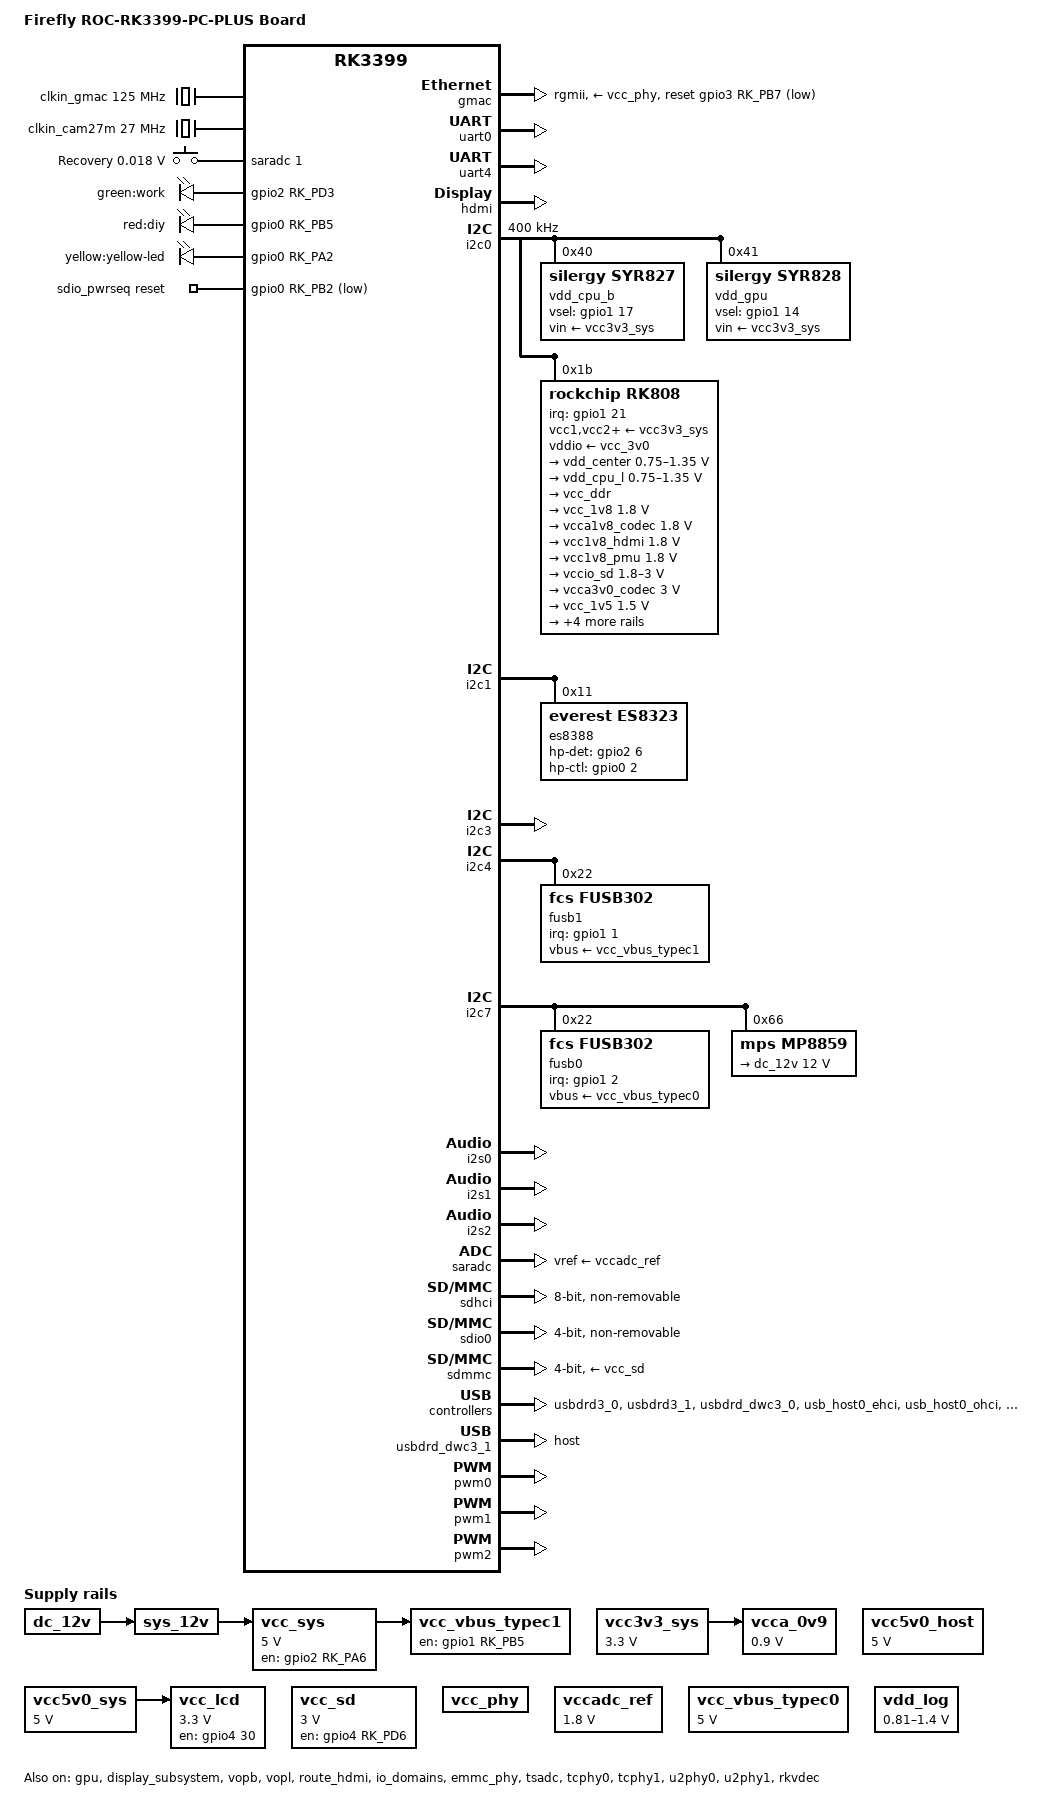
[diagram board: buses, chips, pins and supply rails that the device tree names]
// SPDX-License-Identifier: (GPL-2.0+ OR MIT)
/*
 * Copyright (c) 2017 T-Chip Intelligent Technology Co., Ltd
 */

/dts-v1/;
//#include "rk3399-roc-pc.dtsi"
#include "dt-bindings/pwm/pwm.h"
#include <dt-bindings/usb/pd.h>
#include "rk3399.dtsi"
#include "rk3399-opp.dtsi"
#include "rk3399-vop-clk-set.dtsi"
//#include "rk3399-android.dtsi"
#include "rk3399-nanopi4-rkisp1.dtsi"
#include "rk3399-linux.dtsi"
#include <dt-bindings/input/input.h>
#include <dt-bindings/display/media-bus-format.h>
//#include "include/uapi/drm/drm_mode.h"

/ {
	model = "Firefly ROC-RK3399-PC-PLUS Board";
	compatible = "firefly,roc-rk3399-pc-plus", "rockchip,rk3399";

	chosen {
		stdout-path = "serial2:1500000n8";
	};


//	gpio-fan {
//		#cooling-cells = <2>;
//		compatible = "gpio-fan";
//		gpio-fan,speed-map = <0 0 3000 1>;
//		gpios = <&gpio1 RK_PA1 GPIO_ACTIVE_HIGH>;
//	};

//	ir-receiver {
//		linux,rc-map-name = "rc-khadas";
//	};

	aliases {
		spi1 = &spi1;
	};

	/* first 64k(0xff8c0000~0xff8d0000) for ddr and suspend */
	iram: sram@ff8d0000 {
		compatible = "mmio-sram";
		reg = <0x0 0xff8d0000 0x0 0x20000>; /* 128k */
	};

	clkin_gmac: external-gmac-clock {
		compatible = "fixed-clock";
		clock-frequency = <125000000>;
		clock-output-names = "clkin_gmac";
		#clock-cells = <0>;
	};

	hdmi_sound: hdmi-sound {
		status = "disabled";
		compatible = "simple-audio-card";
		simple-audio-card,format = "i2s";
		simple-audio-card,mclk-fs = <256>;
		simple-audio-card,name = "rockchip,hdmi";

		simple-audio-card,cpu {
			sound-dai = <&i2s2>;
		};
		simple-audio-card,codec {
			sound-dai = <&hdmi>;
		};
	};

	clkin_cam27m: external-camera-clock {
		compatible = "fixed-clock";
		clock-frequency = <27000000>;
		clock-output-names = "CLK_CAMERA_27MHZ";
		#clock-cells = <0>;
	};

	vcc3v3_sys: vcc3v3-sys {
		compatible = "regulator-fixed";
		regulator-name = "vcc3v3_sys";
		regulator-always-on;
		regulator-boot-on;
		regulator-min-microvolt = <3300000>;
		regulator-max-microvolt = <3300000>;
	};

	vcc5v0_host: vcc5v0-host-regulator {
		compatible = "regulator-fixed";
		regulator-name = "vcc5v0_host";
		regulator-always-on;
		regulator-boot-on;
		regulator-min-microvolt = <5000000>;
		regulator-max-microvolt = <5000000>;
	};

	vcc5v0_sys: vcc5v0-sys {
		compatible = "regulator-fixed";
		regulator-name = "vcc5v0_sys";
		regulator-always-on;
		regulator-boot-on;
		regulator-min-microvolt = <5000000>;
		regulator-max-microvolt = <5000000>;
	};

	vcc_sd: vcc-sd {
		compatible = "regulator-fixed";
		enable-active-high;
//		gpio = <&gpio0 1 GPIO_ACTIVE_HIGH>;
		gpio = <&gpio4 RK_PD6 GPIO_ACTIVE_HIGH>;
		pinctrl-names = "default";
		pinctrl-0 = <&vcc_sd_h>;
		regulator-name = "vcc_sd";
		regulator-boot-on;
		regulator-min-microvolt = <3000000>;
		regulator-max-microvolt = <3000000>;
	};

	vcc_phy: vcc-phy-regulator {
		compatible = "regulator-fixed";
		regulator-name = "vcc_phy";
		regulator-always-on;
		regulator-boot-on;
	};

	vcc_lcd: vcc-lcd {
		compatible = "regulator-fixed";
		regulator-name = "vcc_lcd";
		gpio = <&gpio4 30 GPIO_ACTIVE_HIGH>;
		startup-delay-us = <20000>;
		enable-active-high;
		regulator-min-microvolt = <3300000>;
		regulator-max-microvolt = <3300000>;
		regulator-boot-on;
		vin-supply = <&vcc5v0_sys>;
	};

	vccadc_ref: vccadc-ref {
		compatible = "regulator-fixed";
		regulator-name = "vcc1v8_sys";
		regulator-always-on;
		regulator-boot-on;
		regulator-min-microvolt = <1800000>;
		regulator-max-microvolt = <1800000>;
	};

	vcca_0v9: vcca-0v9 {
		compatible = "regulator-fixed";
		regulator-name = "vcca_0v9";
		regulator-always-on;
		regulator-boot-on;
		regulator-min-microvolt = <900000>;
		regulator-max-microvolt = <900000>;
		vin-supply = <&vcc3v3_sys>;
	};

	sys_12v: sys-12v {
		compatible = "regulator-fixed";
		regulator-name = "sys_12v";
		regulator-always-on;
		regulator-boot-on;
		vin-supply = <&dc_12v>;
	};

	vcc_vbus_typec0: vcc-vbus-typec0 {
		compatible = "regulator-fixed";
		regulator-name = "vcc_vbus_typec0";
		regulator-always-on;
		regulator-boot-on;
		regulator-min-microvolt = <5000000>;
		regulator-max-microvolt = <5000000>;
	};

	vcc_vbus_typec1: vcc-vbus-typec1 {
		compatible = "regulator-fixed";
		enable-active-high;
		gpio = <&gpio1 RK_PB5 GPIO_ACTIVE_HIGH>;
		pinctrl-names = "default";
		pinctrl-0 = <&vcc_vbus_typec1_en>;
		regulator-name = "vcc_vbus_typec1";
		regulator-always-on;
		vin-supply = <&vcc_sys>;
	};

	vcc_sys: vcc-sys {
		compatible = "regulator-fixed";
		enable-active-high;
		gpio = <&gpio2 RK_PA6 GPIO_ACTIVE_HIGH>;
		pinctrl-names = "default";
		pinctrl-0 = <&vcc_sys_en>;
		regulator-name = "vcc_sys";
		regulator-boot-on;
		regulator-min-microvolt = <5000000>;
		regulator-max-microvolt = <5000000>;
		vin-supply = <&sys_12v>;
	};

	vdd_log: vdd-log {
		compatible = "pwm-regulator";
		pwms = <&pwm2 0 25000 1>;
		regulator-name = "vdd_log";
		regulator-min-microvolt = <810000>;
		regulator-max-microvolt = <1400000>;
		regulator-always-on;
		regulator-boot-on;

		/* for rockchip boot on */
		rockchip,pwm_id = <2>;
		rockchip,pwm_voltage = <900000>;
	};

	dp_sound: dp-sound {
		status = "okay";
		compatible = "rockchip,cdndp-sound";
		rockchip,cpu = <&spdif>;
		rockchip,codec = <&cdn_dp 1>;
	};

	es8388-sound {
		status = "okay";
		compatible = "simple-audio-card";
		simple-audio-card,format = "i2s";
		simple-audio-card,name = "rockchip,es8388-codec";
		simple-audio-card,mclk-fs = <256>;
		simple-audio-card,cpu {
			sound-dai = <&i2s1>;
			system-clock-frequency = <11289600>;
		};
		simple-audio-card,codec {
			sound-dai = <&es8388>;
			system-clock-frequency = <11289600>;
		};
	};

	/* not amplifier, used as switcher only */
//	headphones_amp: headphones-amp {
//		compatible = "simple-audio-amplifier";
//		pinctrl-names = "default";
//		pinctrl-0 = <&ear_ctl_pin>;
//		enable-gpios = <&gpio0 RK_PA2 GPIO_ACTIVE_HIGH>;
//		sound-name-prefix = "Headphone Amp";
//		VCC-supply = <&vcca3v0_codec>;
//	};

	adc-keys {
		compatible = "adc-keys";
		io-channels = <&saradc 1>;
		io-channel-names = "buttons";
		keyup-threshold-microvolt = <1500000>;
		poll-interval = <100>;

		recovery {
			label = "Recovery";
			linux,code = <KEY_VENDOR>;
			press-threshold-microvolt = <18000>;
		};
	};

//	gpio-keys {
//		compatible = "gpio-keys";
//		autorepeat;
//		pinctrl-names = "default";
//		pinctrl-0 = <&pwr_key_l>;

//		key-power {
//			debounce-interval = <100>;
//			gpios = <&gpio0 RK_PA5 GPIO_ACTIVE_LOW>;
//			label = "GPIO Key Power";
//			linux,code = <KEY_POWER>;
//			wakeup-source;
//		};
//	};

	leds {
		compatible = "gpio-leds";
		pinctrl-names = "default";
		pinctrl-0 = <&work_led_pin>, <&diy_led_pin>, <&yellow_led_pin>;

		work_led: led-0 {
			label = "green:work";
			gpios = <&gpio2 RK_PD3 GPIO_ACTIVE_HIGH>;
			default-state = "on";
			linux,default-trigger = "heartbeat";
		};

		diy_led: led-1 {
			label = "red:diy";
			gpios = <&gpio0 RK_PB5 GPIO_ACTIVE_HIGH>;
			default-state = "off";
			linux,default-trigger = "mmc2";
		};

		yellow_led: led-2 {
			label = "yellow:yellow-led";
			gpios = <&gpio0 RK_PA2 GPIO_ACTIVE_HIGH>;
			default-state = "off";
			linux,default-trigger = "mmc1";
		};
	};

	sdio_pwrseq: sdio-pwrseq {
		compatible = "mmc-pwrseq-simple";
		clocks = <&rk808 1>;
		clock-names = "ext_clock";
		pinctrl-names = "default";
		pinctrl-0 = <&wifi_enable_h>;

		/*
		 * On the module itself this is one of these (depending
		 * on the actual card populated):
		 * - SDIO_RESET_L_WL_REG_ON
		 * - PDN (power down when low)
		 */
		reset-gpios = <&gpio0 RK_PB2 GPIO_ACTIVE_LOW>;
	};



//	rk_wlan: wireless-wlan {
//		compatible = "wlan-platdata";
//		rockchip,grf = <&grf>;
//		wifi_chip_type = "ap6354";
//		sdio_vref = <1800>;
//		WIFI,host_wake_irq = <&gpio0 3 GPIO_ACTIVE_HIGH>; /* GPIO0_a3 */
//		status = "okay";
//	};

//	rk_bluetooth: wireless-bluetooth {
//		compatible = "bluetooth-platdata";
//		clocks = <&rk808 1>;
//		clock-names = "ext_clock";
//		//wifi-bt-power-toggle;
//		uart_rts_gpios = <&gpio2 19 GPIO_ACTIVE_LOW>; /* GPIO2_C3 */
//		pinctrl-names = "default", "rts_gpio";
//		pinctrl-0 = <&uart0_rts>;
//		pinctrl-1 = <&uart0_gpios>;
//		//BT,power_gpio  = <&gpio3 19 GPIO_ACTIVE_HIGH>; /* GPIOx_xx */
//		BT,reset_gpio    = <&gpio0 9 GPIO_ACTIVE_HIGH>; /* GPIO0_B1 */
//		BT,wake_gpio     = <&gpio2 26 GPIO_ACTIVE_HIGH>; /* GPIO2_D2 */
//		BT,wake_host_irq = <&gpio0 4 GPIO_ACTIVE_HIGH>; /* GPIO0_A4 */
//		status = "okay";
//	};

//	test-power {
//		status = "okay";
//	};

//	xin32k: xin32k {
//		compatible = "fixed-clock";
//		clock-frequency = <32768>;
//		clock-output-names = "xin32k";
//		#clock-cells = <0>;
//	};

};

&cpu_l0 {
	cpu-supply = <&vdd_cpu_l>;
};

&cpu_l1 {
	cpu-supply = <&vdd_cpu_l>;
};

&cpu_l2 {
	cpu-supply = <&vdd_cpu_l>;
};

&cpu_l3 {
	cpu-supply = <&vdd_cpu_l>;
};

&cpu_b0 {
	cpu-supply = <&vdd_cpu_b>;
};

&cpu_b1 {
	cpu-supply = <&vdd_cpu_b>;
};

&gpu {
	status = "okay";
	mali-supply = <&vdd_gpu>;
};

&gmac {
	phy-supply = <&vcc_phy>;
	phy-mode = "rgmii";
	clock_in_out = "input";
//	snps,reset-gpio = <&gpio3 15 GPIO_ACTIVE_LOW>;
	snps,reset-gpio = <&gpio3 RK_PB7 GPIO_ACTIVE_LOW>;
	snps,reset-active-low;
	snps,reset-delays-us = <0 10000 50000>;
	assigned-clocks = <&cru SCLK_RMII_SRC>;
	assigned-clock-parents = <&clkin_gmac>;
	pinctrl-names = "default";
	pinctrl-0 = <&rgmii_pins>;
	snps,aal;
	snps,rxpbl = <0x4>;
	snps,txpbl = <0x4>;
	tx_delay = <0x28>;
	rx_delay = <0x11>;
	handle_cpu_id = <1>;
	status = "okay";
};

&spi1 {
	status = "disabled";
	pinctrl-names = "default", "sleep";
	pinctrl-1 = <&spi1_gpio>;

	spidev0: spidev@0 {
		compatible = "rockchip,spidev";
		reg = <0>;
		spi-max-frequency = <10000000>;
		status = "okay";
	};
};

&uart0 {
	pinctrl-names = "default";
	pinctrl-0 = <&uart0_xfer &uart0_cts>;
	status = "okay";
};

&uart2 {
	status = "disabled";
};

&uart4 {
	status = "okay";
};

&display_subsystem {
	status = "okay";
};

&vopb {
	status = "okay";
	assigned-clocks = <&cru DCLK_VOP0_DIV>;
	assigned-clock-parents = <&cru PLL_CPLL>;
};

&vopb_mmu {
	status = "okay";
};

&vopl {
	status = "okay";
	assigned-clocks = <&cru DCLK_VOP1_DIV>;
	assigned-clock-parents = <&cru PLL_VPLL>;
};

&vopl_mmu {
	status = "okay";
};

&hdmi {
	status = "okay";
//	ddc-i2c-bus = <&i2c7>;
	/delete-property/ pinctrl-names;
	/delete-property/ pinctrl-0;
	rockchip,defaultmode = <1>; /* CEA 1920x1080@60Hz */

	#address-cells = <1>;
	#size-cells = <0>;
	#sound-dai-cells = <0>;

};

//&hdmi {
//	pinctrl-names = "default";
//	pinctrl-0 = <&hdmi_i2c_xfer>, <&hdmi_cec>;
//	#address-cells = <1>;
//	#size-cells = <0>;
//	#sound-dai-cells = <0>;
//	status = "okay";
//};

&hdmi_in_vopl {
	status = "disabled";
};

&route_hdmi {
	connect = <&vopb_out_hdmi>;
	status = "okay";
	logo,mode = "center";
};

&hdmi_sound {
	status = "okay";
};

&isp0_mmu {
	status = "okay";
};

&isp1_mmu {
	status = "okay";
};

&i2c0 {
	status = "okay";
	i2c-scl-rising-time-ns = <160>;
	i2c-scl-falling-time-ns = <30>;
	clock-frequency = <400000>;

	vdd_cpu_b: syr827@40 {
		compatible = "silergy,syr827";
		reg = <0x40>;
		vin-supply = <&vcc3v3_sys>;
		regulator-compatible = "fan53555-reg";
		pinctrl-names = "default";
		pinctrl-0 = <&vsel1_gpio>;
		vsel-gpios = <&gpio1 17 GPIO_ACTIVE_HIGH>;
		regulator-name = "vdd_cpu_b";
		regulator-min-microvolt = <712500>;
		regulator-max-microvolt = <1500000>;
		regulator-ramp-delay = <1000>;
		fcs,suspend-voltage-selector = <1>;
		regulator-always-on;
		regulator-boot-on;
		regulator-initial-state = <3>;
			regulator-state-mem {
			regulator-off-in-suspend;
		};
	};

	vdd_gpu: syr828@41 {
		compatible = "silergy,syr828";
		reg = <0x41>;
		vin-supply = <&vcc3v3_sys>;
		regulator-compatible = "fan53555-reg";
		pinctrl-names = "default";
		pinctrl-0 = <&vsel2_gpio>;
		vsel-gpios = <&gpio1 14 GPIO_ACTIVE_HIGH>;
		regulator-name = "vdd_gpu";
		regulator-min-microvolt = <712500>;
		regulator-max-microvolt = <1500000>;
		regulator-ramp-delay = <1000>;
		fcs,suspend-voltage-selector = <1>;
		regulator-always-on;
		regulator-boot-on;
		regulator-initial-state = <3>;
			regulator-state-mem {
			regulator-off-in-suspend;
		};
	};

	rk808: pmic@1b {
		compatible = "rockchip,rk808";
		reg = <0x1b>;
		interrupt-parent = <&gpio1>;
		interrupts = <21 IRQ_TYPE_LEVEL_LOW>;
		pinctrl-names = "default";
		pinctrl-0 = <&pmic_int_l>;
		rockchip,system-power-controller;
		wakeup-source;
		#clock-cells = <1>;
		clock-output-names = "rk808-clkout1", "rk808-clkout2";

		vcc1-supply = <&vcc3v3_sys>;
		vcc2-supply = <&vcc3v3_sys>;
		vcc3-supply = <&vcc3v3_sys>;
		vcc4-supply = <&vcc3v3_sys>;
		vcc6-supply = <&vcc3v3_sys>;
		vcc7-supply = <&vcc3v3_sys>;
		vcc8-supply = <&vcc3v3_sys>;
		vcc9-supply = <&vcc3v3_sys>;
		vcc10-supply = <&vcc3v3_sys>;
		vcc11-supply = <&vcc3v3_sys>;
		vcc12-supply = <&vcc3v3_sys>;
		vddio-supply = <&vcc_3v0>;

		regulators {
			vdd_center: DCDC_REG1 {
				regulator-always-on;
				regulator-boot-on;
				regulator-min-microvolt = <750000>;
				regulator-max-microvolt = <1350000>;
				regulator-ramp-delay = <6001>;
				regulator-name = "vdd_center";
				regulator-state-mem {
					regulator-off-in-suspend;
				};
			};

			vdd_cpu_l: DCDC_REG2 {
				regulator-always-on;
				regulator-boot-on;
				regulator-min-microvolt = <750000>;
				regulator-max-microvolt = <1350000>;
				regulator-ramp-delay = <6001>;
				regulator-name = "vdd_cpu_l";
				regulator-state-mem {
					regulator-off-in-suspend;
				};
			};

			vcc_ddr: DCDC_REG3 {
				regulator-always-on;
				regulator-boot-on;
				regulator-name = "vcc_ddr";
				regulator-state-mem {
					regulator-on-in-suspend;
				};
			};

			vcc_1v8: DCDC_REG4 {
				regulator-always-on;
				regulator-boot-on;
				regulator-min-microvolt = <1800000>;
				regulator-max-microvolt = <1800000>;
				regulator-name = "vcc_1v8";
				regulator-state-mem {
					regulator-on-in-suspend;
					regulator-suspend-microvolt = <1800000>;
				};
			};

			vcca1v8_codec: LDO_REG1 {
				regulator-name = "vcca1v8_codec";
				regulator-always-on;
				regulator-boot-on;
				regulator-min-microvolt = <1800000>;
				regulator-max-microvolt = <1800000>;
//				regulator-name = "vcc1v8_dvp";
				regulator-state-mem {
					regulator-off-in-suspend;
				};
			};

			vcc1v8_hdmi: LDO_REG2 {
				regulator-name = "vcc1v8_hdmi";
				regulator-always-on;
				regulator-boot-on;
				regulator-min-microvolt = <1800000>;
				regulator-max-microvolt = <1800000>;
				regulator-state-mem {
					regulator-off-in-suspend;
				};
			};

			vcc1v8_pmu: LDO_REG3 {
				regulator-always-on;
				regulator-boot-on;
				regulator-min-microvolt = <1800000>;
				regulator-max-microvolt = <1800000>;
				regulator-name = "vcc1v8_pmu";
				regulator-state-mem {
					regulator-on-in-suspend;
					regulator-suspend-microvolt = <1800000>;
				};
			};

			vccio_sd: LDO_REG4 {
				regulator-always-on;
				regulator-boot-on;
				regulator-min-microvolt = <1800000>;
				regulator-max-microvolt = <3000000>;
				regulator-init-microvolt = <3000000>;
				regulator-name = "vccio_sd";
				regulator-state-mem {
					regulator-on-in-suspend;
					regulator-suspend-microvolt = <3000000>;
				};
			};

			vcca3v0_codec: LDO_REG5 {
				regulator-always-on;
				regulator-boot-on;
				regulator-min-microvolt = <3000000>;
				regulator-max-microvolt = <3000000>;
				regulator-name = "vcca3v0_codec";
				regulator-state-mem {
					regulator-off-in-suspend;
				};
			};

			vcc_1v5: LDO_REG6 {
				regulator-always-on;
				regulator-boot-on;
				regulator-min-microvolt = <1500000>;
				regulator-max-microvolt = <1500000>;
				regulator-name = "vcc_1v5";
				regulator-state-mem {
					regulator-on-in-suspend;
					regulator-suspend-microvolt = <1500000>;
				};
			};

			vcca0v9_hdmi: LDO_REG7 {
				regulator-name = "vcca0v9_hdmi";
				regulator-always-on;
				regulator-boot-on;
				regulator-min-microvolt = <900000>;
				regulator-max-microvolt = <900000>;
				regulator-state-mem {
					regulator-off-in-suspend;
				};
			};

			vcc_3v0: LDO_REG8 {
				regulator-always-on;
				regulator-boot-on;
				regulator-min-microvolt = <3000000>;
				regulator-max-microvolt = <3000000>;
				regulator-name = "vcc_3v0";
				regulator-state-mem {
					regulator-on-in-suspend;
					regulator-suspend-microvolt = <3000000>;
				};
			};

			vcc3v3_s3: SWITCH_REG1 {
				regulator-always-on;
				regulator-boot-on;
				regulator-name = "vcc3v3_s3";
				regulator-state-mem {
					regulator-off-in-suspend;
				};
			};

			vcc3v3_s0: SWITCH_REG2 {
				regulator-always-on;
				regulator-boot-on;
				regulator-name = "vcc3v3_s0";
				regulator-state-mem {
					regulator-off-in-suspend;
				};
			};
		};
	};
};

&i2c1 {
	status = "okay";
	es8388: es8388@11 {
		compatible = "everest,es8323";
		status = "okay";
		reg = <0x11>;
		hp-det-gpio = <&gpio2 6 GPIO_ACTIVE_HIGH>;
		hp-ctl-gpio = <&gpio0 2 GPIO_ACTIVE_HIGH>;
		clock-names = "mclk";
		clocks = <&cru SCLK_I2S_8CH_OUT>;
		pinctrl-names = "default";
		pinctrl-0 = <&i2s_8ch_mclk>;
		pinctrl-1 = <&ear_ctl_h>;
		#sound-dai-cells = <0>;
	};
};

&i2c3 {
	i2c-scl-rising-time-ns = <450>;
	i2c-scl-falling-time-ns = <15>;
	status = "okay";
};

&i2c4 {
	status = "okay";
	i2c-scl-rising-time-ns = <600>;
	i2c-scl-falling-time-ns = <20>;
//	clock-frequency = <400000>;

	fusb1: typec-portc@22 {
		compatible = "fcs,fusb302";
		reg = <0x22>;
		interrupt-parent = <&gpio1>;
		interrupts = <1 IRQ_TYPE_LEVEL_LOW>;
		pinctrl-names = "default";
		pinctrl-0 = <&fusb1_int>;
		vbus-supply = <&vcc_vbus_typec1>;
		status = "okay";
	};
};

&i2c7 {
	i2c-scl-rising-time-ns = <600>;
	i2c-scl-falling-time-ns = <20>;
	status = "okay";

	fusb0: usb-typec@22 {
		compatible = "fcs,fusb302";
		reg = <0x22>;
		interrupt-parent = <&gpio1>;
		interrupts = <2 IRQ_TYPE_LEVEL_LOW>;
		pinctrl-names = "default";
		pinctrl-0 = <&fusb0_int>;
		vbus-supply = <&vcc_vbus_typec0>;
		status = "okay";
	};

	mp8859: regulator@66 {
		compatible = "mps,mp8859";
		reg = <0x66>;
		dc_12v: mp8859_dcdc {
			regulator-name = "dc_12v";
			regulator-min-microvolt = <12000000>;
			regulator-max-microvolt = <12000000>;
			regulator-always-on;
			regulator-boot-on;
			vin-supply = <&vcc_vbus_typec0>;

			regulator-state-mem {
				regulator-on-in-suspend;
				regulator-suspend-microvolt = <12000000>;
			};
		};
	};
};

&i2s0 {
	rockchip,playback-channels = <8>;
	rockchip,capture-channels = <8>;
	status = "okay";
};

&i2s1 {
	rockchip,playback-channels = <2>;
	rockchip,capture-channels = <2>;
	status = "okay";
};

&i2s2 {
	status = "okay";
};

&io_domains {
	status = "okay";
	bt656-supply = <&vcc_3v0>;		/* bt656_gpio2ab_ms */
	audio-supply = <&vcca1v8_codec>;	/* audio_gpio3d4a_ms */
	sdmmc-supply = <&vccio_sd>;		/* sdmmc_gpio4b_ms */
	gpio1830-supply = <&vcc_3v0>;		/* gpio1833_gpio4cd_ms */
};

&pmu_io_domains {
	status = "okay";
	pmu1830-supply = <&vcc_3v0>;
};

&saradc {
	status = "okay";
	vref-supply = <&vccadc_ref>;
};

&sdhci {
	bus-width = <8>;
	mmc-hs400-1_8v;
	no-sdio;
	no-sd;
	non-removable;
	keep-power-in-suspend;
	mmc-hs400-enhanced-strobe;
	status = "okay";
};

&emmc_phy {
	status = "okay";
};

&sdio0 {
	clock-frequency = <150000000>;
	clock-freq-min-max = <100000 150000000>;
	no-mmc;
	no-sd;
	bus-width = <4>;
	disable-wp;
	cap-sd-highspeed;
	cap-sdio-irq;
	keep-power-in-suspend;
	mmc-pwrseq = <&sdio_pwrseq>;
	non-removable;
	num-slots = <1>;
	pinctrl-names = "default";
	pinctrl-0 = <&sdio0_bus4 &sdio0_cmd &sdio0_clk>;
	sd-uhs-sdr104;
	status = "okay";
};

&sdmmc {
	clock-frequency = <150000000>;
	clock-freq-min-max = <100000 150000000>;
	no-mmc;
	no-sdio;
	bus-width = <4>;
	cap-mmc-highspeed;
	cap-sd-highspeed;
	disable-wp;
	num-slots = <1>;
	sd-uhs-sdr104;
	vmmc-supply = <&vcc_sd>;
	vqmmc-supply = <&vccio_sd>;
	pinctrl-names = "default";
	pinctrl-0 = <&sdmmc_clk &sdmmc_cmd &sdmmc_cd &sdmmc_bus4>;
	status = "okay";
};

&tsadc {
	/* tshut mode 0:CRU 1:GPIO */
	rockchip,hw-tshut-mode = <1>;
	/* tshut polarity 0:LOW 1:HIGH */
	rockchip,hw-tshut-polarity = <1>;
	status = "okay";
};

/*
&tcphy0 {
	status = "okay";

	svid = <0xff01>;
	orientation-switch;

	port {
		#address-cells = <1>;
		#size-cells = <0>;

		tcphy0_mode_mux: endpoint@0 {
			reg = <0>;
			remote-endpoint = <&usbc_mux>;
		};

		tcphy0_orient_switch: endpoint@1 {
			reg = <1>;
			remote-endpoint = <&usbc_orien_sw>;
		};
	};
};
*/

&tcphy0 {
	status = "okay";
};

&tcphy1 {
	status = "okay";
};

&tcphy1_dp {
	status = "disabled";
};

&u2phy0 {
	status = "okay";

	u2phy0_otg: otg-port {
		status = "okay";
	};

	u2phy0_host: host-port {
		phy-supply = <&vcc5v0_host>;
		status = "okay";
	};
};

&u2phy1 {
	status = "okay";

	u2phy1_otg: otg-port {
		status = "okay";
	};

	u2phy1_host: host-port {
		phy-supply = <&vcc5v0_host>;
		status = "okay";
	};
};

&usbdrd3_0 {
	status = "okay";
};

&usbdrd3_1 {
	status = "okay";
};

&usbdrd_dwc3_0 {
	status = "okay";
//	dr_mode = "otg";
//	usb-role-switch;

//	port {
//		#address-cells = <1>;
//		#size-cells = <0>;
//		dwc3_0_role_switch: endpoint@0 {
//			reg = <0>;
//			remote-endpoint = <&usbc0_role_sw>;
//		};
//	};
};

&usbdrd_dwc3_1 {
	status = "okay";
	dr_mode = "host";
};

&usb_host0_ehci {
	status = "okay";
};

&usb_host0_ohci {
	status = "okay";
};

&usb_host1_ehci {
	status = "okay";
};

&usb_host1_ohci {
	status = "okay";
};

&pinctrl {
	hdmi {
		/delete-node/ hdmi-i2c-xfer;
	};

	pmic {
		pmic_int_l: pmic-int-l {
			rockchip,pins = <1 21 RK_FUNC_GPIO &pcfg_pull_up>;
		};

		vsel1_gpio: vsel1-gpio {
			rockchip,pins = <1 17 RK_FUNC_GPIO &pcfg_pull_down>;
		};
		vsel2_gpio: vsel2-gpio {
			rockchip,pins = <1 14 RK_FUNC_GPIO &pcfg_pull_down>;
		};
	};

	vcc_sd {
		vcc_sd_h: vcc-sd-h {
			rockchip,pins = <0 1 RK_FUNC_GPIO &pcfg_pull_up>;
		};
	};

//	fusb30x {
//		fusb0_int: fusb0-int {
//			rockchip,pins = <1 2 RK_FUNC_GPIO &pcfg_pull_up>;
//		};
//		vbus_typec_pwren: vbus-typec--pwren {
//			rockchip,pins = <4 RK_PD2 RK_FUNC_GPIO &pcfg_pull_none>;
//		};
//	};

	fusb30x {
		fusb0_int: fusb0-int {
			rockchip,pins = <1 RK_PA2 RK_FUNC_GPIO &pcfg_pull_up>;
		};

		fusb1_int: fusb1-int {
			rockchip,pins = <1 RK_PA1 RK_FUNC_GPIO &pcfg_pull_up>;
		};
	};


	sdio-pwrseq {
		wifi_enable_h: wifi-enable-h {
			rockchip,pins = <0 10 RK_FUNC_GPIO &pcfg_pull_none>;
		};
	};

	 es8388-pins {
		ear_ctl_h: ear-ctl-h {
                        rockchip,pins = <0 2 RK_FUNC_GPIO &pcfg_pull_down>;
                };
	};

	headphone {
		hp_det: hp-det {
			rockchip,pins = <4 28 RK_FUNC_GPIO &pcfg_pull_up>;
		};
	};

	spi1 {
		spi1_gpio: spi1-gpio {
			rockchip,pins =
				<1 7 RK_FUNC_GPIO &pcfg_output_low>,
				<1 8 RK_FUNC_GPIO &pcfg_output_low>,
				<1 9 RK_FUNC_GPIO &pcfg_output_low>,
				<1 10 RK_FUNC_GPIO &pcfg_output_low>;
		};
	};

//	hym8563 {
//		hym8563_int: hym8563-int {
//			rockchip,pins = <0 RK_PA5 RK_FUNC_GPIO &pcfg_pull_up>;
//		};
//	};

//	i2s1 {
//		i2s_8ch_mclk_pin: i2s-8ch-mclk-pin {
//			rockchip,pins = <4 RK_PA0 1 &pcfg_pull_none>;
//		};
//	};

	usb-typec {
		vcc_vbus_typec1_en: vcc-vbus-typec1-en {
			rockchip,pins = <1 RK_PB5 RK_FUNC_GPIO &pcfg_pull_none>;
		};
	};

	usb2 {
		vcc5v0_host_en: vcc5v0-host-en {
			rockchip,pins = <1 RK_PA0 RK_FUNC_GPIO &pcfg_pull_none>;
		};

		vcc_sys_en: vcc-sys-en {
			rockchip,pins = <2 RK_PA6 RK_FUNC_GPIO &pcfg_pull_none>;
		};

		hub_rst: hub-rst {
			rockchip,pins = <2 RK_PA4 RK_FUNC_GPIO &pcfg_output_high>;
		};
	};

	leds {
		diy_led_pin: diy-led-pin {
			rockchip,pins = <0 RK_PB5 RK_FUNC_GPIO &pcfg_pull_none>;
		};

		work_led_pin: work-led-pin {
			rockchip,pins = <2 RK_PD3 RK_FUNC_GPIO &pcfg_pull_none>;
		};

		yellow_led_pin: yellow-led-pin {
			rockchip,pins = <0 RK_PA2 RK_FUNC_GPIO &pcfg_pull_none>;
		};
	};

};

&pwm0 {
	status = "okay";
};

&pwm1 {
	status = "okay";
};

&pwm2 {
	status = "okay";
	pinctrl-names = "active";
	pinctrl-0 = <&pwm2_pin_pull_down>;
};

&uart0 {
	pinctrl-names = "default";
	pinctrl-0 = <&uart0_xfer &uart0_cts &uart0_rts>;
	status = "okay";
};

&rkvdec {
	status = "okay";
};
